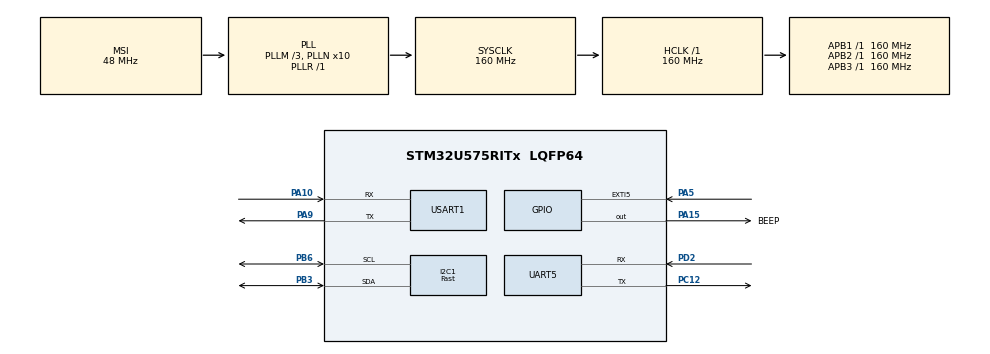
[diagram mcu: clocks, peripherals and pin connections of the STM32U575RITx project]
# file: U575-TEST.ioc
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CORTEX_M33_NS.userName=CORTEX_M33
I2C1.I2C_Speed_Mode=I2C_Fast
I2C1.Timing=0x00F07BFF
Mcu.Family=STM32U5
Mcu.Name=STM32U575RITx
Mcu.Package=LQFP64
NVIC.EXTI5_IRQn=true\:0\:0\:false\:false\:true\:true\:true\:true
NVIC.PriorityGroup=NVIC_PRIORITYGROUP_4
NVIC.UART5_IRQn=true\:1\:0\:false\:false\:true\:true\:true\:true
PA10.Mode=Asynchronous
PA10.Signal=USART1_RX
PA15.GPIO_Label=BEEP
PA15.GPIO_ModeDefaultOutputPP=GPIO_MODE_OUTPUT_PP
PA15.GPIO_PuPd=GPIO_NOPULL
PA15.GPIO_Speed=GPIO_SPEED_FREQ_LOW
PA15.Signal=GPIO_Output
PA5.GPIO_ModeDefaultEXTI=GPIO_MODE_IT_RISING
PA5.Signal=GPXTI5
PA9.Mode=Asynchronous
PA9.Signal=USART1_TX
PB3\ (JTDO/TRACESWO).Mode=I2C
PB3\ (JTDO/TRACESWO).Signal=I2C1_SDA
PB6.Mode=I2C
PB6.Signal=I2C1_SCL
PC12.Mode=Asynchronous
PC12.Signal=UART5_TX
PD2.Mode=Asynchronous
PD2.Signal=UART5_RX
ProjectManager.HeapSize=0x200
ProjectManager.StackSize=0x400
ProjectManager.TargetToolchain=MDK-ARM V5.39
RCC.ADCFreq_Value=16000000
RCC.AHBFreq_Value=160000000
RCC.APB1Freq_Value=160000000
RCC.APB1TimFreq_Value=160000000
RCC.APB2Freq_Value=160000000
RCC.APB2TimFreq_Value=160000000
RCC.APB3Freq_Value=160000000
RCC.CortexFreq_Value=160000000
RCC.EPOD_VALUE=48000000
RCC.HCLKFreq_Value=160000000
RCC.HSE_VALUE=16000000
RCC.HSI48_VALUE=48000000
RCC.HSI_VALUE=16000000
RCC.LSE_VALUE=32768
RCC.LSIDIV_VALUE=32000
RCC.MSIClockRange=RCC_MSIRANGE_0
RCC.MSI_VALUE=48000000
RCC.PLL1R=1
RCC.PLLFRACN=0
RCC.PLLM=3
RCC.PLLN=10
RCC.SYSCLKFreq_VALUE=160000000
RCC.SYSCLKSource=RCC_SYSCLKSOURCE_PLLCLK
RCC.USBFreq_Value=48000000
RCC.VCOOutputFreq_Value=160000000
USART1.VirtualMode-Asynchronous=VM_ASYNC
VP_ICACHE_VS_ENABLE_ICACHE_MEMORY.Mode=Memoryregions
VP_ICACHE_VS_ICACHE.Mode=DirectMappedCache
VP_LPBAMQUEUE_VS_QUEUE.Mode=QUEUEMODE
VP_LPBAM_VS_SIG1.Mode=SmartRun
VP_LPBAM_VS_SIG4.Mode=LPDMA1
VP_MEMORYMAP_VS_MEMORYMAP.Mode=CurAppReg
VP_PWR_VS_SECSignals.Mode=Security/Privilege
board=custom

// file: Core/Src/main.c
/* USER CODE BEGIN Header */
/**
  ******************************************************************************
  * @file           : main.c
  * @brief          : Main program body
  ******************************************************************************
  * @attention
  *
  * Copyright (c) 2026 STMicroelectronics.
  * All rights reserved.
  *
  * This software is licensed under terms that can be found in the LICENSE file
  * in the root directory of this software component.
  * If no LICENSE file comes with this software, it is provided AS-IS.
  *
  ******************************************************************************
  */
/* USER CODE END Header */
#include "main.h"
#include "i2c.h"
#include "icache.h"
#include "usart.h"
#include "gpio.h"

/* USER CODE BEGIN Includes */
#include "lsm6dsr.h"
#include "net_test.h"
#include "low_power.h"
#include "bsp_esp8266.h"
#include "beep.h"
#include <stdio.h>
/* USER CODE END Includes */

/* USER CODE BEGIN PTD */
typedef struct
{
  const char *type;
  uint8_t level;
  int32_t peak;              // 本次事件最大变化值
  uint8_t can_use_count;
  uint32_t time_ms;          //对比的时间，序列的对比
  uint8_t send;              // 是否发送网络警告
  uint8_t beep;
} MotionResult_t;
/* USER CODE END PTD */

/* USER CODE BEGIN PD */
#define SMP_NUM   12    // 采样点数
#define SMP_MS    10    // 采样间隔毫秒
#define ACT_MG    90    // 记为有效震动的最小变化值
#define TOUCH_MG  320   // touch1 的峰值上限
#define KNOCK_MG  1100
#define TOUCH_CNT 5     // touch1 的最大有效点数
#define KNOCK_CNT 9
#define TOUCH_MS  50    //touch1 的最大持续时间
#define KNOCK_MS  100
/* USER CODE END PD */

/* USER CODE BEGIN PV */
volatile uint8_t gRX_Buff[1];
extern volatile uint8_t TcpClosedFlag;
/* USER CODE END PV */

void SystemClock_Config(void);
/* USER CODE BEGIN PFP */
static void APP_HandleSensorWakeup(void);
static void SendMotionAlert(const MotionResult_t *result, int32_t ax_mg, int32_t ay_mg, int32_t az_mg, uint8_t clear_wake, uint32_t delay_ms);
static void CheckMotion(MotionResult_t *result, int32_t *ax_mg, int32_t *ay_mg, int32_t *az_mg);
static void MarkMotion(MotionResult_t *result, int32_t peak, uint8_t can_use_count, uint32_t time_ms);
static int32_t APP_Abs32(int32_t value);
static int32_t APP_Max3(int32_t a, int32_t b, int32_t c);
static int32_t AccelRawToMg(int16_t raw);
/* USER CODE END PFP */

/* USER CODE BEGIN 0 */
__ASM (".global __use_no_semihosting");

struct FILE
{
  int handle;
};

FILE __stdout;

void _sys_exit(int x)
{
  x = x;
}

void _ttywrch(int ch)
{
  ch = ch;
}

int fputc(int ch, FILE *f)
{
  uint8_t temp[1] = {(uint8_t)ch};

  HAL_UART_Transmit(&huart1, temp, 1, 2);
  return ch;
}

/* USER CODE END 0 */

int main(void)
{

  /* MCU Configuration--------------------------------------------------------*/

  /* Reset of all peripherals, Initializes the Flash interface and the Systick. */
  HAL_Init();

  /* Configure the system clock */
  SystemClock_Config();

  /* Initialize all configured peripherals */
  MX_GPIO_Init();
  MX_I2C1_Init();
  MX_ICACHE_Init();
  MX_USART1_UART_Init();
  MX_UART5_Init();
  /* USER CODE BEGIN 2 */
#if (APP_NET_TEST_ONLY)
  APP_NetworkTest_Init(&huart5, (uint8_t *)gRX_Buff);
#else
  ESP8266_Init(&huart5, (uint8_t *)gRX_Buff, 115200);
  (void)ESP8266_SendAlert("BOOT:U575 tamper firmware online,broker=172.20.10.6:1883\r\n");

  if (LSM6DSR_Init() == 0)
  {
    char error_msg[96];
    snprintf(error_msg, sizeof(error_msg), "ERROR:LSM6DSR init failed,who_am_i=0x%02X,check wiring/address\r\n", LSM6DSR_Read_ID());
    (void)ESP8266_SendAlert(error_msg);
    Error_Handler();
  }

  if (LSM6DSR_Config_Wakeup_INT1() == 0)
  {
    (void)ESP8266_SendAlert("ERROR:LSM6DSR wakeup INT1 config failed\r\n");
    Error_Handler();
  }

  {
    int16_t ax_raw = 0;
    int16_t ay_raw = 0;
    int16_t az_raw = 0;
    uint8_t int1_level;
    uint8_t wake_source;
    char sensor_msg[128];

    LSM6DSR_Read_Accel(&ax_raw, &ay_raw, &az_raw);
    wake_source = LSM6DSR_Read_Wakeup_Source();
    int1_level = (HAL_GPIO_ReadPin(GPIOA, GPIO_PIN_5) == GPIO_PIN_SET) ? 1U : 0U;
    snprintf(sensor_msg, sizeof(sensor_msg),
             "SENSOR_READY:lsm6dsr,who=0x%02X,int1=%u,wake=0x%02X,acc_mg=%ld,%ld,%ld\r\n",LSM6DSR_Read_ID(), int1_level,wake_source,(long)AccelRawToMg(ax_raw),(long)AccelRawToMg(ay_raw),(long)AccelRawToMg(az_raw));
    (void)ESP8266_SendAlert(sensor_msg);
  }
#endif
  /* USER CODE END 2 */

  /* Infinite loop */
  /* USER CODE BEGIN WHILE */
  while (1)
  {
    /* USER CODE BEGIN WHILE */
#if APP_NET_TEST_ONLY
    APP_NetworkTest_Run();
#else
    if (Sensor_Flag)
    {
      Sensor_Flag = 0;
      APP_HandleSensorWakeup();
    }
    else
    {
      APP_EnterStop2Mode();

      if (Sensor_Flag || (HAL_GPIO_ReadPin(GPIOA, GPIO_PIN_5) == GPIO_PIN_SET))
      {
        Sensor_Flag = 0;
        APP_HandleSensorWakeup();
      }
    }
#endif

    /* USER CODE END WHILE */
  }
}

void SystemClock_Config(void)
{
  RCC_OscInitTypeDef RCC_OscInitStruct = {0};
  RCC_ClkInitTypeDef RCC_ClkInitStruct = {0};

  /** Configure the main internal regulator output voltage
  */
  if (HAL_PWREx_ControlVoltageScaling(PWR_REGULATOR_VOLTAGE_SCALE1) != HAL_OK)
  {
    Error_Handler();
  }

  /** Initializes the CPU, AHB and APB buses clocks
  */
  RCC_OscInitStruct.OscillatorType = RCC_OSCILLATORTYPE_MSI;
  RCC_OscInitStruct.MSIState = RCC_MSI_ON;
  RCC_OscInitStruct.MSICalibrationValue = RCC_MSICALIBRATION_DEFAULT;
  RCC_OscInitStruct.MSIClockRange = RCC_MSIRANGE_0;
  RCC_OscInitStruct.PLL.PLLState = RCC_PLL_ON;
  RCC_OscInitStruct.PLL.PLLSource = RCC_PLLSOURCE_MSI;
  RCC_OscInitStruct.PLL.PLLMBOOST = RCC_PLLMBOOST_DIV4;
  RCC_OscInitStruct.PLL.PLLM = 3;
  RCC_OscInitStruct.PLL.PLLN = 10;
  RCC_OscInitStruct.PLL.PLLP = 2;
  RCC_OscInitStruct.PLL.PLLQ = 2;
  RCC_OscInitStruct.PLL.PLLR = 1;
  RCC_OscInitStruct.PLL.PLLRGE = RCC_PLLVCIRANGE_1;
  RCC_OscInitStruct.PLL.PLLFRACN = 0;
  if (HAL_RCC_OscConfig(&RCC_OscInitStruct) != HAL_OK)
  {
    Error_Handler();
  }

  /** Initializes the CPU, AHB and APB buses clocks
  */
  RCC_ClkInitStruct.ClockType = RCC_CLOCKTYPE_HCLK | RCC_CLOCKTYPE_SYSCLK
                              | RCC_CLOCKTYPE_PCLK1 | RCC_CLOCKTYPE_PCLK2
                              | RCC_CLOCKTYPE_PCLK3;
  RCC_ClkInitStruct.SYSCLKSource = RCC_SYSCLKSOURCE_PLLCLK;
  RCC_ClkInitStruct.AHBCLKDivider = RCC_SYSCLK_DIV1;
  RCC_ClkInitStruct.APB1CLKDivider = RCC_HCLK_DIV1;
  RCC_ClkInitStruct.APB2CLKDivider = RCC_HCLK_DIV1;
  RCC_ClkInitStruct.APB3CLKDivider = RCC_HCLK_DIV1;

  if (HAL_RCC_ClockConfig(&RCC_ClkInitStruct, FLASH_LATENCY_4) != HAL_OK)
  {
    Error_Handler();
  }
}

/* USER CODE BEGIN 4 */
static void SendMotionAlert(const MotionResult_t *result, int32_t ax_mg, int32_t ay_mg, int32_t az_mg, uint8_t clear_wake, uint32_t delay_ms)
{
    char alert_msg[128] = {0};    // 网络警告消息缓冲区
    uint8_t send_ok = 0;          // 网络发送结果状态

//警告信息
    snprintf(alert_msg, sizeof(alert_msg),
             "警告,event=%s,time=%lu,acc_mg=%ld,%ld,%ld\r\n",
             result->type,
             (unsigned long)result->time_ms,
             (long)ax_mg,
             (long)ay_mg,
             (long)az_mg);
    ESP8266_Init(&huart5, (uint8_t *)gRX_Buff, 115200);
    send_ok = (uint8_t)ESP8266_SendAlert(alert_msg);
    if (send_ok == 0U)
    {
        printf("警告发送失败,event=%s,time=%lu,acc_mg=%ld,%ld,%ld\r\n",
               result->type,
               (unsigned long)result->time_ms,
               (long)ax_mg,
               (long)ay_mg,
               (long)az_mg);
    }

    PlayBeep(result->beep);

    if (clear_wake != 0U)
    {
        (void)LSM6DSR_Read_Wakeup_Source();
    }

    if (delay_ms > 0U)
    {
        HAL_Delay(delay_ms);
    }
}

void APP_HandleSensorWakeup(void) // 三层震动判断与告警处理
{
    MotionResult_t result = {0};  // 震动分类结果
    int32_t ax_mg = 0;            // 最后一组 X 轴加速度 mg 值
    int32_t ay_mg = 0;
    int32_t az_mg = 0;

    /*
     思路:
     1. 传感器中断唤醒后，连续采样一小段加速度序列；
     2. 计算相邻样本之间的变化峰值；
     3. 统计有效震动点数量和持续时间；
     4. touch1、touch2、touch3。
    */
    (void)LSM6DSR_Read_Wakeup_Source(); // 先读一次唤醒源，清掉锁存状态！！！！！！！！！！！！
    CheckMotion(&result, &ax_mg, &ay_mg, &az_mg);

    if (result.level == 0)
    {
        return;
    }

    if (result.send == 0)
    {
        printf("记录,event=%s,time=%lu,acc_mg=%ld,%ld,%ld\r\n",result.type,(unsigned long)result.time_ms,(long)ax_mg,(long)ay_mg,(long)az_mg);
        PlayBeep(result.beep);
        return;
    }

    SendMotionAlert(&result, ax_mg, ay_mg, az_mg, 1U, 0U);
}

static void CheckMotion(MotionResult_t *result, int32_t *ax_mg, int32_t *ay_mg, int32_t *az_mg)
{
    int16_t ax_raw = 0;           // X 轴原始值
    int16_t ay_raw = 0;
    int16_t az_raw = 0;
    int32_t last_ax = 0;          // 上一组 X 轴 mg 值
    int32_t last_ay = 0;
    int32_t last_az = 0;
    int32_t now_ax = 0;           // 当前 X 轴 mg 值
    int32_t now_ay = 0;
    int32_t now_az = 0;
    int32_t delta_x = 0;          // X 轴变化值
    int32_t delta_y = 0;
    int32_t delta_z = 0;
    int32_t delta_now = 0;        // 当前样本最大变化值
    int32_t peak = 0;             // 本次事件最大变化值
    uint8_t can_use_count = 0;    // 有效震动点数量
    uint32_t time_ms = 0;         // 事件持续时间

    result->type = "none";
    result->level = 0;
    result->peak = 0;
    result->can_use_count = 0;
    result->time_ms = 0;
    result->send = 0;
    result->beep = 0;

    // 阈值确定要找一个合适的基准值，后面的样本都和前一组做差。 （还没找到）
    LSM6DSR_Read_Accel(&ax_raw, &ay_raw, &az_raw);
    last_ax = AccelRawToMg(ax_raw);
    last_ay = AccelRawToMg(ay_raw);
    last_az = AccelRawToMg(az_raw);

    for (uint8_t i = 1; i < SMP_NUM; i++)
    {
        HAL_Delay(SMP_MS);
        LSM6DSR_Read_Accel(&ax_raw, &ay_raw, &az_raw);
        now_ax = AccelRawToMg(ax_raw);
        now_ay = AccelRawToMg(ay_raw);
        now_az = AccelRawToMg(az_raw);

        delta_x = APP_Abs32(now_ax - last_ax);
        delta_y = APP_Abs32(now_ay - last_ay);
        delta_z = APP_Abs32(now_az - last_az);
        delta_now = APP_Max3(delta_x, delta_y, delta_z);

        if (delta_now > peak)
        {
            peak = delta_now;
        }

        // 有效震动点要变化值达到 ACT_MG
        if (delta_now >= ACT_MG)
        {
            can_use_count++;
            time_ms = (uint32_t)i * SMP_MS;
        }

        last_ax = now_ax;
        last_ay = now_ay;
        last_az = now_az;
    }

    *ax_mg = last_ax;
    *ay_mg = last_ay;
    *az_mg = last_az;
    MarkMotion(result, peak, can_use_count, time_ms);
}

static void MarkMotion(MotionResult_t *result, int32_t peak, uint8_t can_use_count, uint32_t time_ms)
{
    result->peak = peak;
    result->can_use_count = can_use_count;
    result->time_ms = time_ms;
    result->beep = 0;

    if (peak < ACT_MG)
    {
        result->type = "none";
        result->level = 0;
        result->send = 0;
        result->beep = 0;
        return;
    }

    // touch1
    if ((peak < TOUCH_MG) && (can_use_count <= TOUCH_CNT) && (time_ms <= TOUCH_MS))
    {
        result->type = "touch1";
        result->level = 1;
        result->send = 0;
        result->beep = 1;
        return;
    }

    // touch2
    if ((peak < KNOCK_MG) && (can_use_count <= KNOCK_CNT) && (time_ms <= KNOCK_MS))
    {
        result->type = "touch2";
        result->level = 2;
        result->send = 1;
        result->beep = 2;
        return;
    }

    // touch3
    result->type = "touch3";
    result->level = 3;
    result->send = 1;
    result->beep = 3;
}

static int32_t APP_Abs32(int32_t value)
{
    return (value < 0) ? -value : value;
}

static int32_t APP_Max3(int32_t a, int32_t b, int32_t c)
{
    int32_t max = a;

    if (b > max)
    {
        max = b;
    }

    if (c > max)
    {
        max = c;
    }

    return max;
}

static int32_t AccelRawToMg(int16_t raw)
{
    return ((int32_t)raw * 61) / 1000;
}

void HAL_GPIO_EXTI_Callback(uint16_t GPIO_Pin)
{
    if (GPIO_Pin == GPIO_PIN_5)
    {
        Sensor_Flag = 1;
    }
}

/* USER CODE END 4 */

void Error_Handler(void)
{
  __disable_irq();
  while (1)
  {
  }
}
